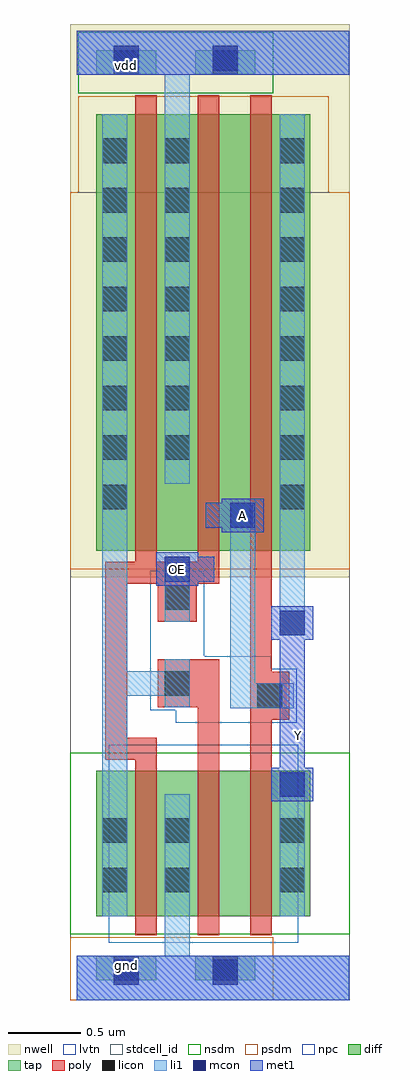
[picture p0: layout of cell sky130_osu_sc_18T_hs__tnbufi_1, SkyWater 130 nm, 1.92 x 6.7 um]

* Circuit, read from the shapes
.subckt sky130_osu_sc_18T_hs__tnbufi_1 A OE Y gnd vdd
XM1 gnd OE n1 gnd sky130_fd_pr__nfet_01v8_lvt w=1 l=0.15
XM2 n2 n1 gnd gnd sky130_fd_pr__nfet_01v8_lvt w=1 l=0.15
XM3 Y A n2 gnd sky130_fd_pr__nfet_01v8_lvt w=1 l=0.15
XM4 vdd OE n1 vdd sky130_fd_pr__pfet_01v8 w=3 l=0.15
XM5 n3 OE vdd vdd sky130_fd_pr__pfet_01v8 w=3 l=0.15
XM6 Y A n3 vdd sky130_fd_pr__pfet_01v8 w=3 l=0.15
.ends

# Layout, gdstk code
import gdstk
lib = gdstk.Library(unit=1e-6, precision=1e-09)
def R(c, l, rs):  # rectangles x0, y0, x1, y1
    for r in rs: c.add(gdstk.rectangle(r[:2], r[2:], *l))
def A(c, l, x, y, w, h, nx, ny, dx, dy):  # array of equal rectangles
    R(c, l, [(x+i*dx, y+j*dy, x+i*dx+w, y+j*dy+h) for i in range(nx) for j in range(ny)])
nwell = (64, 20)
diff = (65, 20)
tap = (65, 44)
poly = (66, 20)
licon = (66, 44)
li1 = (67, 20)
mcon = (67, 44)
met1 = (68, 20)
stdcell_id = (81, 4)
nsdm = (93, 44)
psdm = (94, 20)
npc = (95, 20)
lvtn = (125, 44)

sky130_osu_sc_18t_hs__tn = lib.new_cell('sky130_osu_sc_18T_hs__tnbufi_1')
R(sky130_osu_sc_18t_hs__tn, nwell, [(-0.045,2.905,1.875,6.705)])
R(sky130_osu_sc_18t_hs__tn, diff, [(0.135,0.575,1.605,1.575), (0.135,3.085,1.605,6.085)])
R(sky130_osu_sc_18t_hs__tn, tap, [(0.135,0.135,0.545,0.305), (0.815,0.135,1.225,0.305), (0.135,6.355,0.545,6.525), (0.815,6.355,1.225,6.525)])
R(sky130_osu_sc_18t_hs__tn, poly, [(0.4,0.445,0.55,1.65), (0.83,0.445,0.98,2.01), (1.19,0.445,1.34,1.925), (0.195,1.65,0.55,1.8), (0.195,1.8,0.345,2.86), (1.19,1.925,1.46,2.255), (0.555,2.01,0.98,2.34), (1.19,2.255,1.34,6.215), (0.555,2.6,0.825,2.86), (0.195,2.86,0.98,3.01), (0.4,3.01,0.55,6.215), (0.83,3.01,0.98,6.215)])
A(sky130_osu_sc_18t_hs__tn, licon, 0.175, 3.37, 0.17, 0.17, 1, 8, 0, 0.34)
A(sky130_osu_sc_18t_hs__tn, licon, 1.395, 3.37, 0.17, 0.17, 1, 8, 0, 0.34)
A(sky130_osu_sc_18t_hs__tn, licon, 0.605, 3.71, 0.17, 0.17, 1, 7, 0, 0.34)
R(sky130_osu_sc_18t_hs__tn, licon, [(0.255,0.135,0.425,0.305), (0.935,0.135,1.105,0.305), (0.175,0.74,0.345,0.91), (0.605,0.74,0.775,0.91), (1.395,0.74,1.565,0.91), (0.175,1.08,0.345,1.25), (0.605,1.08,0.775,1.25), (1.395,1.08,1.565,1.25), (1.24,2.005,1.41,2.175), (0.605,2.09,0.775,2.26), (0.605,2.68,0.775,2.85), (0.255,6.355,0.425,6.525), (0.935,6.355,1.105,6.525)])
R(sky130_osu_sc_18t_hs__tn, li1, [(0,0,1.87,0.305), (0.605,0.305,0.775,1.415), (0.175,0.575,0.345,2.09), (1.395,0.575,1.565,1.565), (1.055,2.005,1.49,2.175), (0.605,2.01,0.775,2.09), (0.175,2.09,0.775,2.26), (1.055,2.175,1.225,3.415), (0.175,2.26,0.345,6.085), (0.605,2.26,0.775,2.34), (1.395,2.505,1.565,6.085), (0.605,2.6,0.775,3.045), (0.605,3.545,0.775,6.355), (0,6.355,1.87,6.66)])
R(sky130_osu_sc_18t_hs__tn, mcon, [(0.255,0.105,0.425,0.275), (0.935,0.105,1.105,0.275), (1.395,1.395,1.565,1.565), (1.395,2.505,1.565,2.675), (0.605,2.875,0.775,3.045), (1.055,3.245,1.225,3.415), (0.255,6.385,0.425,6.555), (0.935,6.385,1.105,6.555)])
R(sky130_osu_sc_18t_hs__tn, met1, [(0,0,1.87,0.305), (1.335,1.365,1.625,1.595), (1.395,1.595,1.565,2.475), (1.335,2.475,1.625,2.705), (0.545,2.845,0.835,2.875), (0.545,2.875,0.945,3.045), (0.545,3.045,0.835,3.075), (0.995,3.215,1.285,3.245), (0.885,3.245,1.285,3.415), (0.995,3.415,1.285,3.445), (0,6.355,1.87,6.66)])
R(sky130_osu_sc_18t_hs__tn, stdcell_id, [(-0.045,0,1.875,5.55)])
R(sky130_osu_sc_18t_hs__tn, nsdm, [(-0.045,0.45,1.875,1.7), (0.01,6.23,1.35,6.65)])
R(sky130_osu_sc_18t_hs__tn, psdm, [(-0.045,0,1.35,0.43), (-0.045,2.96,1.875,5.55), (0.01,5.55,1.73,6.21)])
R(sky130_osu_sc_18t_hs__tn, npc, [(0.68,1.905,1.51,1.99), (0.505,1.99,1.51,2.275), (0.505,2.275,1.335,2.36), (0.505,2.36,0.875,2.95)])
R(sky130_osu_sc_18t_hs__tn, lvtn, [(0.22,0.395,1.52,1.755)])
sky130_osu_sc_18t_hs__tn.add(gdstk.Label('gnd', (0.34,0.24), layer=68, texttype=16))
sky130_osu_sc_18t_hs__tn.add(gdstk.Label('vdd', (0.34,6.42), layer=68, texttype=16))
sky130_osu_sc_18t_hs__tn.add(gdstk.Label('Y', (1.525,1.82), layer=68, texttype=5))
sky130_osu_sc_18t_hs__tn.add(gdstk.Label('A', (1.14,3.33), layer=68, texttype=5))
sky130_osu_sc_18t_hs__tn.add(gdstk.Label('OE', (0.69,2.96), layer=68, texttype=5))

lib.write_gds('sky130_osu_sc_18T_hs__tnbufi_1.gds')
